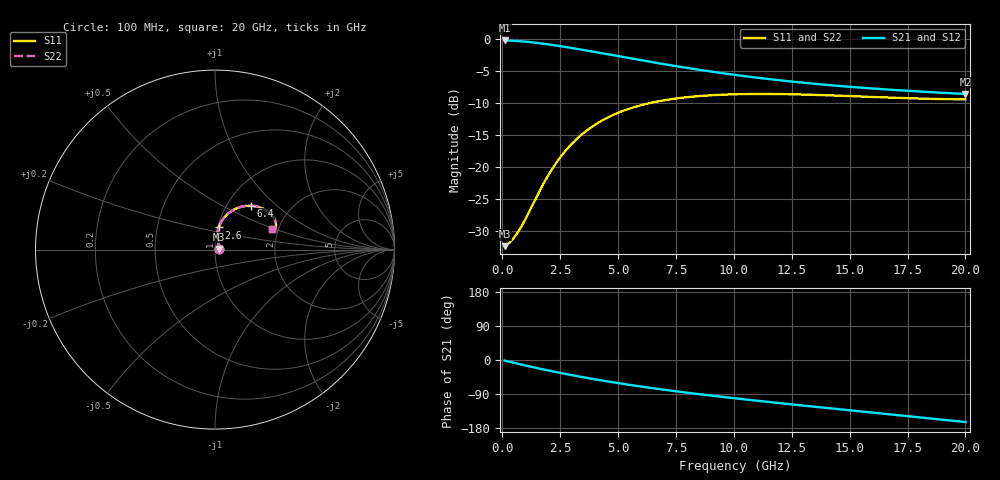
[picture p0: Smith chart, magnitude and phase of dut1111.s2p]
! Touchstone file exported from HFSS 2024.1.0
!  File:  C:/UserFiles/LocalFiles/RDL_TSV_Batchsim/temp_RDL_TSV_1111_1780103245.aedt
!  Generated:  09:18:32 AM May 30, 2026
!  Design:  RDL_TSV
!  Project:  temp_RDL_TSV_1111_1780103245
!  Setup:  Setup1
!  Solution:  Sweep
! Variables:
!  dtsv = 7.24um
!  hbump = 3um
!  htsv = 99.31um
!  ldown = 359.98um
!  lrdl = 197.53um
!  p = 40
!  p1 = 51um
!  rhole = 10um
!  subl = 1870.06um
!  t = 450um
!  tdown = 2.45um
!  trdl = 2.1um
!  viad = 10um
!  wdown = 10.85um
!  wrdl = 15.41um
!  xbump = 18um
# GHz S MA R 50.000000
! Terminal data exported
! Port[1] = TM1_1_T1
! Port[2] = TM1_4_T1
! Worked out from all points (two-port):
!   200 points, 100 MHz to 20 GHz, reference 50 ohm
!   highest |S21| = -0.21 dB at 100 MHz (marker M1); lowest = -8.6 dB at 20 GHz (marker M2)
!   |S21| within 3 dB of the highest: start of sweep to 5.853 GHz
!   lowest |S11| = -32.4 dB at 100 MHz (marker M3), VSWR 1.05, Z = 52.4 + j0.339 ohm
!   |S11| at or under -10 dB: start of sweep to 6.387 GHz
!   |S22| runs from -32.4 to -8.6 dB; largest |S21 - S12| = 2.1e-14
!   S11 on the Smith chart (normalised r, x): 100 MHz: 1.05, +0.01; 2.6 GHz: 1.01, +0.25; 6.4 GHz: 1.29, +0.70; 20 GHz: 1.84, +0.49
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0.1  0.02396 7.8  0.976 -1.5  0.976 -1.5  0.02396 7.8
! Gamma 0 0 0 0
! Port Impedance 50 0 50 0
0.4  0.0265 29.0  0.9723 -5.9  0.9723 -5.9  0.02649 29.0
0.7  0.03134 46.8  0.9652 -10.3  0.9652 -10.3  0.03134 46.8
1  0.03899 61.3  0.9553 -14.5  0.9553 -14.5  0.03899 61.3
1.3  0.05006 71.5  0.9433 -18.7  0.9433 -18.7  0.05006 71.5
1.9  0.08098 80.6  0.9141 -26.6  0.9141 -26.6  0.08098 80.6
2.2  0.09932 81.4  0.8979 -30.4  0.8979 -30.4  0.09932 81.5
2.6  0.1252 80.5  0.8752 -35.3  0.8752 -35.3  0.1252 80.5
3  0.1515 78.2  0.8518 -40.0  0.8518 -40.0  0.1515 78.2
3.5  0.1835 74.3  0.8223 -45.6  0.8223 -45.6  0.1835 74.3
4.1  0.2191 69.1  0.7871 -52.0  0.7871 -52.0  0.2192 69.2
4.8  0.2555 63.0  0.7472 -59.0  0.7472 -59.0  0.2556 63.1
5.6  0.2898 56.5  0.704 -66.5  0.704 -66.5  0.2899 56.5
6.4  0.3166 50.5  0.6639 -73.6  0.6639 -73.6  0.3168 50.6
6.8  0.3275 47.8  0.6451 -76.9  0.6451 -76.9  0.3276 47.8
8.4  0.357 38.4  0.579 -89.4  0.579 -89.4  0.3572 38.5
10.1  0.3702 30.9  0.5233 -101.5  0.5233 -101.5  0.3705 30.9
11.7  0.3718 25.7  0.4823 -112.1  0.4823 -112.1  0.3721 25.7
13.4  0.3666 21.8  0.4484 -122.8  0.4484 -122.8  0.3669 21.9
15  0.3583 19.7  0.4234 -132.8  0.4234 -132.8  0.3586 19.7
16.7  0.3487 18.7  0.4023 -143.2  0.4023 -143.2  0.349 18.8
20  0.3378 20.3  0.3719 -163.7  0.3719 -163.7  0.3381 20.3
